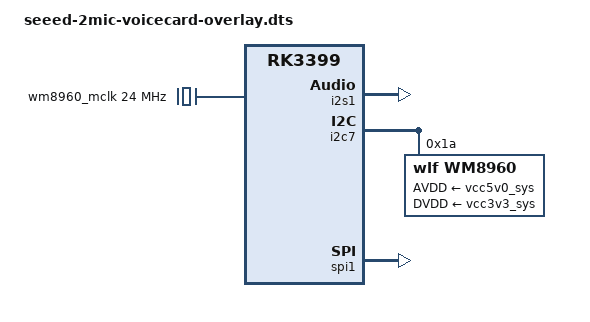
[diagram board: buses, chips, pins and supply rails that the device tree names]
/dts-v1/;
/plugin/;

/ {
	compatible = "rockchip,rk3399";

    fragment@0 {
        target = <&i2s0>;
        __overlay__ {
            status = "disabled";
        };
    };

    fragment@1 {
        target = <&i2s1>;
        __overlay__ {
            status = "okay";
        };
    };

    fragment@2 {
        target = <&i2s2>;
        __overlay__ {
            status = "disabled";
        };
    };

    fragment@3 {
		target-path="/";
		__overlay__ {
                        wm8960_mclk: wm8960_mclk {
                                compatible = "fixed-clock";
                                #clock-cells = <0>;
                                clock-frequency = <24000000>;
                        };

		};
    };

    fragment@4 {
		target = <&i2c7>;
		__overlay__ {
			#address-cells = <1>;
			#size-cells = <0>;
			status = "okay";

			wm8960: wm8960{
				compatible = "wlf,wm8960";
				reg = <0x1a>;
				#sound-dai-cells = <0>;
				AVDD-supply = <&vcc5v0_sys>;
				DVDD-supply = <&vcc3v3_sys>;
			};
		};
    };

    fragment@5 {
        target-path = "/";
        __overlay__ {
			sound_overlay: i2s-sound {
                compatible = "simple-audio-card";
                simple-audio-card,format = "i2s";
                simple-audio-card,name = "seeed-2mic-voicecard"; 
                status = "okay";
                simple-audio-card,mclk-fs = <0x100>;
                simple-audio-card,widgets =
                        "Microphone", "Mic Jack",
                        "Line", "Line In",
                        "Line", "Line Out",
                        "Speaker", "Speaker",
                        "Headphone", "Headphone Jack";
                simple-audio-card,routing =
                        "Headphone Jack", "HP_L",
                        "Headphone Jack", "HP_R",
                        "Speaker", "SPK_LP",
                        "Speaker", "SPK_LN",
                        "LINPUT1", "Mic Jack",
                        "LINPUT3", "Mic Jack",
                        "RINPUT1", "Mic Jack",
                        "RINPUT2", "Mic Jack";

                simple-audio-card,cpu {
                    sound-dai = <&i2s1>;
                };
                dailink0_slave: simple-audio-card,codec {
                    sound-dai = <&wm8960>;
                    clocks = <&wm8960_mclk>;
                    clock-names = "mclk";
                };
            };
        };
    };

    fragment@6 {
        target = <&spi1>;
        __overlay__ {
            status = "okay";
        };
    };

    __overrides__ {
        alsaname = <&sound_overlay>,"simple-audio-card,name";
        compatible = <&wm8960>,"compatible";
        master = <0>,"=2!3";
    };
};

